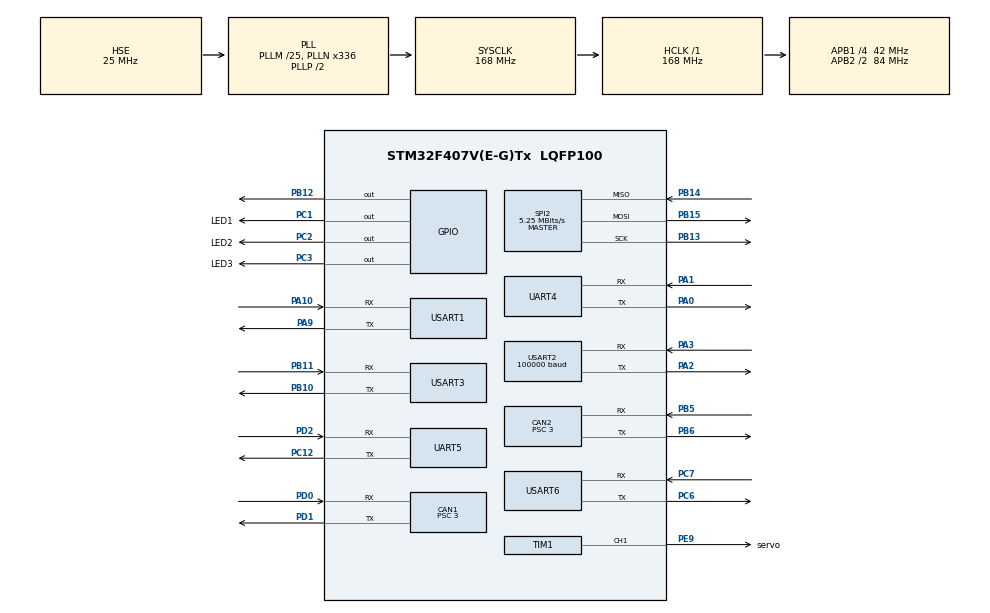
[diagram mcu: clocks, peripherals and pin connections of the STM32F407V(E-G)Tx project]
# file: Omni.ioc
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CAN1.ABOM=ENABLE
CAN1.BS1=CAN_BS1_9TQ
CAN1.BS2=CAN_BS2_4TQ
CAN1.CalculateBaudRate=1000000
CAN1.CalculateTimeBit=1000
CAN1.CalculateTimeQuantum=71.42857142857143
CAN1.Prescaler=3
CAN2.ABOM=ENABLE
CAN2.BS1=CAN_BS1_9TQ
CAN2.BS2=CAN_BS2_4TQ
CAN2.CalculateBaudRate=1000000
CAN2.CalculateTimeBit=1000
CAN2.CalculateTimeQuantum=71.42857142857143
CAN2.Prescaler=3
Dma.Request0=UART4_RX
Dma.Request1=UART4_TX
Dma.Request10=USART6_TX
Dma.Request2=USART1_RX
Dma.Request3=USART1_TX
Dma.Request4=UART5_RX
Dma.Request5=UART5_TX
Dma.Request6=USART2_RX
Dma.Request7=USART3_RX
Dma.Request8=USART3_TX
Dma.Request9=USART6_RX
Dma.UART4_RX.0.Direction=DMA_PERIPH_TO_MEMORY
Dma.UART4_RX.0.FIFOMode=DMA_FIFOMODE_DISABLE
Dma.UART4_RX.0.Instance=DMA1_Stream2
Dma.UART4_RX.0.MemDataAlignment=DMA_MDATAALIGN_BYTE
Dma.UART4_RX.0.MemInc=DMA_MINC_ENABLE
Dma.UART4_RX.0.Mode=DMA_CIRCULAR
Dma.UART4_RX.0.PeriphDataAlignment=DMA_PDATAALIGN_BYTE
Dma.UART4_RX.0.PeriphInc=DMA_PINC_DISABLE
Dma.UART4_RX.0.Priority=DMA_PRIORITY_HIGH
Dma.UART4_TX.1.Direction=DMA_MEMORY_TO_PERIPH
Dma.UART4_TX.1.FIFOMode=DMA_FIFOMODE_DISABLE
Dma.UART4_TX.1.Instance=DMA1_Stream4
Dma.UART4_TX.1.MemDataAlignment=DMA_MDATAALIGN_BYTE
Dma.UART4_TX.1.MemInc=DMA_MINC_ENABLE
Dma.UART4_TX.1.Mode=DMA_NORMAL
Dma.UART4_TX.1.PeriphDataAlignment=DMA_PDATAALIGN_BYTE
Dma.UART4_TX.1.PeriphInc=DMA_PINC_DISABLE
Dma.UART4_TX.1.Priority=DMA_PRIORITY_HIGH
Dma.UART5_RX.4.Direction=DMA_PERIPH_TO_MEMORY
Dma.UART5_RX.4.FIFOMode=DMA_FIFOMODE_DISABLE
Dma.UART5_RX.4.Instance=DMA1_Stream0
Dma.UART5_RX.4.MemDataAlignment=DMA_MDATAALIGN_BYTE
Dma.UART5_RX.4.MemInc=DMA_MINC_ENABLE
Dma.UART5_RX.4.Mode=DMA_CIRCULAR
Dma.UART5_RX.4.PeriphDataAlignment=DMA_PDATAALIGN_BYTE
Dma.UART5_RX.4.PeriphInc=DMA_PINC_DISABLE
Dma.UART5_RX.4.Priority=DMA_PRIORITY_HIGH
Dma.UART5_TX.5.Direction=DMA_MEMORY_TO_PERIPH
Dma.UART5_TX.5.FIFOMode=DMA_FIFOMODE_DISABLE
Dma.UART5_TX.5.Instance=DMA1_Stream7
Dma.UART5_TX.5.MemDataAlignment=DMA_MDATAALIGN_BYTE
Dma.UART5_TX.5.MemInc=DMA_MINC_ENABLE
Dma.UART5_TX.5.Mode=DMA_NORMAL
Dma.UART5_TX.5.PeriphDataAlignment=DMA_PDATAALIGN_BYTE
Dma.UART5_TX.5.PeriphInc=DMA_PINC_DISABLE
Dma.UART5_TX.5.Priority=DMA_PRIORITY_HIGH
Dma.USART1_RX.2.Direction=DMA_PERIPH_TO_MEMORY
Dma.USART1_RX.2.FIFOMode=DMA_FIFOMODE_DISABLE
Dma.USART1_RX.2.Instance=DMA2_Stream2
Dma.USART1_RX.2.MemDataAlignment=DMA_MDATAALIGN_BYTE
Dma.USART1_RX.2.MemInc=DMA_MINC_ENABLE
Dma.USART1_RX.2.Mode=DMA_CIRCULAR
Dma.USART1_RX.2.PeriphDataAlignment=DMA_PDATAALIGN_BYTE
Dma.USART1_RX.2.PeriphInc=DMA_PINC_DISABLE
Dma.USART1_RX.2.Priority=DMA_PRIORITY_HIGH
Dma.USART1_TX.3.Direction=DMA_MEMORY_TO_PERIPH
Dma.USART1_TX.3.FIFOMode=DMA_FIFOMODE_DISABLE
Dma.USART1_TX.3.Instance=DMA2_Stream7
Dma.USART1_TX.3.MemDataAlignment=DMA_MDATAALIGN_BYTE
Dma.USART1_TX.3.MemInc=DMA_MINC_ENABLE
Dma.USART1_TX.3.Mode=DMA_NORMAL
Dma.USART1_TX.3.PeriphDataAlignment=DMA_PDATAALIGN_BYTE
Dma.USART1_TX.3.PeriphInc=DMA_PINC_DISABLE
Dma.USART1_TX.3.Priority=DMA_PRIORITY_HIGH
Dma.USART2_RX.6.Direction=DMA_PERIPH_TO_MEMORY
Dma.USART2_RX.6.FIFOMode=DMA_FIFOMODE_DISABLE
Dma.USART2_RX.6.Instance=DMA1_Stream5
Dma.USART2_RX.6.MemDataAlignment=DMA_MDATAALIGN_BYTE
Dma.USART2_RX.6.MemInc=DMA_MINC_ENABLE
Dma.USART2_RX.6.Mode=DMA_CIRCULAR
Dma.USART2_RX.6.PeriphDataAlignment=DMA_PDATAALIGN_BYTE
Dma.USART2_RX.6.PeriphInc=DMA_PINC_DISABLE
Dma.USART2_RX.6.Priority=DMA_PRIORITY_HIGH
Dma.USART3_RX.7.Direction=DMA_PERIPH_TO_MEMORY
Dma.USART3_RX.7.FIFOMode=DMA_FIFOMODE_DISABLE
Dma.USART3_RX.7.Instance=DMA1_Stream1
Dma.USART3_RX.7.MemDataAlignment=DMA_MDATAALIGN_BYTE
Dma.USART3_RX.7.MemInc=DMA_MINC_ENABLE
Dma.USART3_RX.7.Mode=DMA_CIRCULAR
Dma.USART3_RX.7.PeriphDataAlignment=DMA_PDATAALIGN_BYTE
Dma.USART3_RX.7.PeriphInc=DMA_PINC_DISABLE
Dma.USART3_RX.7.Priority=DMA_PRIORITY_LOW
Dma.USART3_TX.8.Direction=DMA_MEMORY_TO_PERIPH
Dma.USART3_TX.8.FIFOMode=DMA_FIFOMODE_DISABLE
Dma.USART3_TX.8.Instance=DMA1_Stream3
Dma.USART3_TX.8.MemDataAlignment=DMA_MDATAALIGN_BYTE
Dma.USART3_TX.8.MemInc=DMA_MINC_ENABLE
Dma.USART3_TX.8.Mode=DMA_NORMAL
Dma.USART3_TX.8.PeriphDataAlignment=DMA_PDATAALIGN_BYTE
Dma.USART3_TX.8.PeriphInc=DMA_PINC_DISABLE
Dma.USART3_TX.8.Priority=DMA_PRIORITY_LOW
Dma.USART6_RX.9.Direction=DMA_PERIPH_TO_MEMORY
Dma.USART6_RX.9.FIFOMode=DMA_FIFOMODE_DISABLE
Dma.USART6_RX.9.Instance=DMA2_Stream1
Dma.USART6_RX.9.MemDataAlignment=DMA_MDATAALIGN_BYTE
Dma.USART6_RX.9.MemInc=DMA_MINC_ENABLE
Dma.USART6_RX.9.Mode=DMA_CIRCULAR
Dma.USART6_RX.9.PeriphDataAlignment=DMA_PDATAALIGN_BYTE
Dma.USART6_RX.9.PeriphInc=DMA_PINC_DISABLE
Dma.USART6_RX.9.Priority=DMA_PRIORITY_LOW
Dma.USART6_TX.10.Direction=DMA_MEMORY_TO_PERIPH
Dma.USART6_TX.10.FIFOMode=DMA_FIFOMODE_DISABLE
Dma.USART6_TX.10.Instance=DMA2_Stream6
Dma.USART6_TX.10.MemDataAlignment=DMA_MDATAALIGN_BYTE
Dma.USART6_TX.10.MemInc=DMA_MINC_ENABLE
Dma.USART6_TX.10.Mode=DMA_CIRCULAR
Dma.USART6_TX.10.PeriphDataAlignment=DMA_PDATAALIGN_BYTE
Dma.USART6_TX.10.PeriphInc=DMA_PINC_DISABLE
Dma.USART6_TX.10.Priority=DMA_PRIORITY_LOW
FREERTOS.Tasks01=MonitorTask,3,256,StartMonitorTask,As weak,NULL,Dynamic,NULL,NULL;CommunityTask,2,512,StartCommunityTask,As weak,NULL,Dynamic,NULL,NULL;ControlTask,0,256,StartControlTask,As weak,NULL,Dynamic,NULL,NULL;LedTask,1,128,StartLedTask,As weak,NULL,Dynamic,NULL,NULL
FREERTOS.configENABLE_FPU=1
IWDG.Prescaler=IWDG_PRESCALER_8
Mcu.Family=STM32F4
Mcu.Name=STM32F407V(E-G)Tx
Mcu.Package=LQFP100
NVIC.CAN1_RX0_IRQn=true\:5\:0\:false\:false\:true\:true\:true\:true\:true
NVIC.CAN2_RX0_IRQn=true\:5\:0\:false\:false\:true\:true\:true\:true\:true
NVIC.DMA1_Stream0_IRQn=true\:5\:0\:false\:false\:true\:true\:false\:true\:true
NVIC.DMA1_Stream1_IRQn=true\:5\:0\:false\:false\:true\:true\:false\:true\:true
NVIC.DMA1_Stream2_IRQn=true\:5\:0\:false\:false\:true\:true\:false\:true\:true
NVIC.DMA1_Stream3_IRQn=true\:5\:0\:false\:false\:true\:true\:false\:true\:true
NVIC.DMA1_Stream4_IRQn=true\:5\:0\:false\:false\:true\:true\:false\:true\:true
NVIC.DMA1_Stream5_IRQn=true\:5\:0\:false\:false\:true\:true\:false\:true\:true
NVIC.DMA1_Stream7_IRQn=true\:5\:0\:false\:false\:true\:true\:false\:true\:true
NVIC.DMA2_Stream1_IRQn=true\:5\:0\:false\:false\:true\:true\:false\:true\:true
NVIC.DMA2_Stream2_IRQn=true\:5\:0\:false\:false\:true\:true\:false\:true\:true
NVIC.DMA2_Stream6_IRQn=true\:5\:0\:false\:false\:true\:true\:false\:true\:true
NVIC.DMA2_Stream7_IRQn=true\:5\:0\:false\:false\:true\:true\:false\:true\:true
NVIC.PriorityGroup=NVIC_PRIORITYGROUP_4
NVIC.TIM2_IRQn=true\:15\:0\:false\:false\:true\:false\:false\:true\:true
NVIC.TIM4_IRQn=true\:5\:0\:false\:false\:true\:true\:true\:true\:true
NVIC.TimeBase=TIM2_IRQn
NVIC.TimeBaseIP=TIM2
NVIC.UART4_IRQn=true\:5\:0\:false\:false\:true\:true\:true\:true\:true
NVIC.UART5_IRQn=true\:5\:0\:false\:false\:true\:true\:true\:true\:true
NVIC.USART1_IRQn=true\:5\:0\:false\:false\:true\:true\:true\:true\:true
NVIC.USART2_IRQn=true\:5\:0\:false\:false\:true\:true\:true\:true\:true
NVIC.USART3_IRQn=true\:5\:0\:false\:false\:true\:true\:true\:true\:true
NVIC.USART6_IRQn=true\:5\:0\:false\:false\:true\:true\:true\:true\:true
PA0-WKUP.Mode=Asynchronous
PA0-WKUP.Signal=UART4_TX
PA1.Mode=Asynchronous
PA1.Signal=UART4_RX
PA10.Mode=Asynchronous
PA10.Signal=USART1_RX
PA13.Mode=Serial_Wire
PA13.Signal=SYS_JTMS-SWDIO
PA14.Mode=Serial_Wire
PA14.Signal=SYS_JTCK-SWCLK
PA2.Mode=Asynchronous
PA2.Signal=USART2_TX
PA3.Mode=Asynchronous
PA3.Signal=USART2_RX
PA9.Mode=Asynchronous
PA9.Signal=USART1_TX
PB10.Mode=Asynchronous
PB10.Signal=USART3_TX
PB11.Mode=Asynchronous
PB11.Signal=USART3_RX
PB12.GPIO_Speed=GPIO_SPEED_FREQ_HIGH
PB12.PinState=GPIO_PIN_RESET
PB12.Signal=GPIO_Output
PB13.Mode=Full_Duplex_Master
PB13.Signal=SPI2_SCK
PB14.Mode=Full_Duplex_Master
PB14.Signal=SPI2_MISO
PB15.Mode=Full_Duplex_Master
PB15.Signal=SPI2_MOSI
PB5.Mode=CAN_Activate
PB5.Signal=CAN2_RX
PB6.Mode=CAN_Activate
PB6.Signal=CAN2_TX
PC1.GPIO_Label=LED1
PC1.GPIO_Speed=GPIO_SPEED_FREQ_LOW
PC1.PinState=GPIO_PIN_SET
PC1.Signal=GPIO_Output
PC12.Mode=Asynchronous
PC12.Signal=UART5_TX
PC2.GPIO_Label=LED2
PC2.PinState=GPIO_PIN_SET
PC2.Signal=GPIO_Output
PC3.GPIO_Label=LED3
PC3.PinState=GPIO_PIN_SET
PC3.Signal=GPIO_Output
PC6.Mode=Asynchronous
PC6.Signal=USART6_TX
PC7.Mode=Asynchronous
PC7.Signal=USART6_RX
PD0.Mode=CAN_Activate
PD0.Signal=CAN1_RX
PD1.Mode=CAN_Activate
PD1.Signal=CAN1_TX
PD2.Mode=Asynchronous
PD2.Signal=UART5_RX
PE9.GPIO_Label=servo
PE9.GPIO_Speed=GPIO_SPEED_FREQ_HIGH
PE9.Signal=S_TIM1_CH1
PH0-OSC_IN.Mode=HSE-External-Oscillator
PH0-OSC_IN.Signal=RCC_OSC_IN
PH1-OSC_OUT.Mode=HSE-External-Oscillator
PH1-OSC_OUT.Signal=RCC_OSC_OUT
ProjectManager.HeapSize=0x200
ProjectManager.StackSize=0x400
ProjectManager.TargetToolchain=MDK-ARM V5.32
RCC.48MHZClocksFreq_Value=84000000
RCC.AHBFreq_Value=168000000
RCC.APB1CLKDivider=RCC_HCLK_DIV4
RCC.APB1Freq_Value=42000000
RCC.APB1TimFreq_Value=84000000
RCC.APB2CLKDivider=RCC_HCLK_DIV2
RCC.APB2Freq_Value=84000000
RCC.APB2TimFreq_Value=168000000
RCC.CortexFreq_Value=168000000
RCC.HCLKFreq_Value=168000000
RCC.HSE_VALUE=25000000
RCC.HSI_VALUE=16000000
RCC.LSE_VALUE=32768
RCC.PLLM=25
RCC.PLLN=336
RCC.PLLSourceVirtual=RCC_PLLSOURCE_HSE
RCC.SYSCLKFreq_VALUE=168000000
RCC.SYSCLKSource=RCC_SYSCLKSOURCE_PLLCLK
RCC.VCOOutputFreq_Value=336000000
SH.S_TIM1_CH1.0=TIM1_CH1,PWM Generation1 CH1
SPI2.BaudRatePrescaler=SPI_BAUDRATEPRESCALER_8
SPI2.CalculateBaudRate=5.25 MBits/s
SPI2.Direction=SPI_DIRECTION_2LINES
SPI2.Mode=SPI_MODE_MASTER
SPI2.VirtualType=VM_MASTER
TIM1.Channel-PWM\ Generation1\ CH1=TIM_CHANNEL_1
TIM1.Period=2000-1
TIM1.Prescaler=1680-1
TIM4.AutoReloadPreload=TIM_AUTORELOAD_PRELOAD_ENABLE
TIM4.Period=500-1
TIM4.Prescaler=84-1
UART4.VirtualMode=Asynchronous
UART5.VirtualMode=Asynchronous
USART1.VirtualMode=VM_ASYNC
USART2.BaudRate=100000
USART2.Mode=MODE_RX
USART2.Parity=PARITY_EVEN
USART2.VirtualMode=VM_ASYNC
USART3.VirtualMode=VM_ASYNC
USART6.VirtualMode=VM_ASYNC
VP_FREERTOS_VS_CMSIS_V1.Mode=CMSIS_V1
VP_IWDG_VS_IWDG.Mode=IWDG_Activate
VP_SYS_VS_tim2.Mode=TIM2
VP_TIM1_VS_ClockSourceINT.Mode=Internal
VP_TIM4_VS_ClockSourceINT.Mode=Internal
board=custom

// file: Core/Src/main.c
/* USER CODE BEGIN Header */
/**
  ******************************************************************************
  * @file           : main.c
  * @brief          : Main program body
  ******************************************************************************
  * @attention
  *
  * Copyright (c) 2023 STMicroelectronics.
  * All rights reserved.
  *
  * This software is licensed under terms that can be found in the LICENSE file
  * in the root directory of this software component.
  * If no LICENSE file comes with this software, it is provided AS-IS.
  *
  ******************************************************************************
  */
/* USER CODE END Header */
#include "main.h"
#include "cmsis_os.h"
#include "can.h"
#include "dma.h"
#include "spi.h"
#include "tim.h"
#include "usart.h"
#include "gpio.h"

/* USER CODE BEGIN Includes */
#include "iwdg.h"
#include "driver.h"
#include "device.h"
/* USER CODE END Includes */

/* USER CODE BEGIN PV */
extern osThreadId ImuTaskHandle;
/* USER CODE END PV */

void SystemClock_Config(void);
void MX_FREERTOS_Init(void);

int main(void)
{

  /* MCU Configuration--------------------------------------------------------*/

  /* Reset of all peripherals, Initializes the Flash interface and the Systick. */
  HAL_Init();

  /* Configure the system clock */
  SystemClock_Config();

  /* Initialize all configured peripherals */
  MX_GPIO_Init();
  MX_DMA_Init();
  MX_TIM1_Init();
  MX_TIM4_Init();
  MX_CAN1_Init();
  MX_CAN2_Init();
  MX_UART4_Init();
  MX_UART5_Init();
  MX_USART1_UART_Init();
  MX_USART2_UART_Init();
  MX_USART3_UART_Init();
  MX_SPI2_Init();
  MX_USART6_UART_Init();
  /* USER CODE BEGIN 2 */

	SPI2_Init();

	HAL_GPIO_WritePin(GPIOC, GPIO_PIN_1, GPIO_PIN_RESET);
	HAL_GPIO_WritePin(GPIOC, GPIO_PIN_2, GPIO_PIN_SET);
	HAL_GPIO_WritePin(GPIOC, GPIO_PIN_3, GPIO_PIN_RESET);

	imu_sensor.init(&imu_sensor);
	HAL_Delay(10);
/*
#if defined	(DEBUG_MODE) && (DEBUG_MODE == 0)
  MX_IWDG_Init();
#endif
*/
	DEVICE_Init();
	DRIVER_Init();

  /* USER CODE END 2 */

  /* Call init function for freertos objects (in freertos.c) */
  MX_FREERTOS_Init();

  /* Start scheduler */
  osKernelStart();

  /* We should never get here as control is now taken by the scheduler */
  /* Infinite loop */
  while (1)
  {

  }
}

void SystemClock_Config(void)
{
  RCC_OscInitTypeDef RCC_OscInitStruct = {0};
  RCC_ClkInitTypeDef RCC_ClkInitStruct = {0};

  /** Configure the main internal regulator output voltage
  */
  __HAL_RCC_PWR_CLK_ENABLE();
  __HAL_PWR_VOLTAGESCALING_CONFIG(PWR_REGULATOR_VOLTAGE_SCALE1);

  /** Initializes the RCC Oscillators according to the specified parameters
  * in the RCC_OscInitTypeDef structure.
  */
  RCC_OscInitStruct.OscillatorType = RCC_OSCILLATORTYPE_LSI|RCC_OSCILLATORTYPE_HSE;
  RCC_OscInitStruct.HSEState = RCC_HSE_ON;
  RCC_OscInitStruct.LSIState = RCC_LSI_ON;
  RCC_OscInitStruct.PLL.PLLState = RCC_PLL_ON;
  RCC_OscInitStruct.PLL.PLLSource = RCC_PLLSOURCE_HSE;
  RCC_OscInitStruct.PLL.PLLM = 25;
  RCC_OscInitStruct.PLL.PLLN = 336;
  RCC_OscInitStruct.PLL.PLLP = RCC_PLLP_DIV2;
  RCC_OscInitStruct.PLL.PLLQ = 4;
  if (HAL_RCC_OscConfig(&RCC_OscInitStruct) != HAL_OK)
  {
    Error_Handler();
  }

  /** Initializes the CPU, AHB and APB buses clocks
  */
  RCC_ClkInitStruct.ClockType = RCC_CLOCKTYPE_HCLK|RCC_CLOCKTYPE_SYSCLK
                              |RCC_CLOCKTYPE_PCLK1|RCC_CLOCKTYPE_PCLK2;
  RCC_ClkInitStruct.SYSCLKSource = RCC_SYSCLKSOURCE_PLLCLK;
  RCC_ClkInitStruct.AHBCLKDivider = RCC_SYSCLK_DIV1;
  RCC_ClkInitStruct.APB1CLKDivider = RCC_HCLK_DIV4;
  RCC_ClkInitStruct.APB2CLKDivider = RCC_HCLK_DIV2;

  if (HAL_RCC_ClockConfig(&RCC_ClkInitStruct, FLASH_LATENCY_5) != HAL_OK)
  {
    Error_Handler();
  }
}

void HAL_TIM_PeriodElapsedCallback(TIM_HandleTypeDef *htim)
{
  /* USER CODE BEGIN Callback 0 */
	static uint16_t i = 0;
	if (htim->Instance == TIM4)
	{
		//500us
		if (i++ == 60000)
		{
			i = 0;
		}

		if ((imu_sensor.work_state.err_code == IMU_NONE_ERR) || \
				(imu_sensor.work_state.err_code == IMU_DATA_CALI))
		{
			imu_sensor.update(&imu_sensor);
		}

	}

  /* USER CODE END Callback 0 */
  if (htim->Instance == TIM2) {
    HAL_IncTick();
  }
}

void Error_Handler(void)
{
  __disable_irq();
  while (1)
  {
  }
}

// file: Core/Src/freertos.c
/* USER CODE BEGIN Header */
/**
  ******************************************************************************
  * File Name          : freertos.c
  * Description        : Code for freertos applications
  ******************************************************************************
  * @attention
  *
  * Copyright (c) 2023 STMicroelectronics.
  * All rights reserved.
  *
  * This software is licensed under terms that can be found in the LICENSE file
  * in the root directory of this software component.
  * If no LICENSE file comes with this software, it is provided AS-IS.
  *
  ******************************************************************************
  */
/* USER CODE END Header */

#include "FreeRTOS.h"
#include "task.h"
#include "main.h"
#include "cmsis_os.h"

osThreadId MonitorTaskHandle;
osThreadId CommunityTaskHandle;
osThreadId ControlTaskHandle;
osThreadId LedTaskHandle;

void StartMonitorTask(void const * argument);
void StartCommunityTask(void const * argument);
void StartControlTask(void const * argument);
void StartLedTask(void const * argument);

void MX_FREERTOS_Init(void); /* (MISRA C 2004 rule 8.1) */

/* GetIdleTaskMemory prototype (linked to static allocation support) */
void vApplicationGetIdleTaskMemory( StaticTask_t **ppxIdleTaskTCBBuffer, StackType_t **ppxIdleTaskStackBuffer, uint32_t *pulIdleTaskStackSize );

/* USER CODE BEGIN GET_IDLE_TASK_MEMORY */
static StaticTask_t xIdleTaskTCBBuffer;
static StackType_t xIdleStack[configMINIMAL_STACK_SIZE];

void vApplicationGetIdleTaskMemory( StaticTask_t **ppxIdleTaskTCBBuffer, StackType_t **ppxIdleTaskStackBuffer, uint32_t *pulIdleTaskStackSize )
{
  *ppxIdleTaskTCBBuffer = &xIdleTaskTCBBuffer;
  *ppxIdleTaskStackBuffer = &xIdleStack[0];
  *pulIdleTaskStackSize = configMINIMAL_STACK_SIZE;
  /* place for user code */
}
/* USER CODE END GET_IDLE_TASK_MEMORY */

void MX_FREERTOS_Init(void) {

  /* Create the thread(s) */
  /* definition and creation of MonitorTask */
  osThreadDef(MonitorTask, StartMonitorTask, osPriorityRealtime, 0, 256);
  MonitorTaskHandle = osThreadCreate(osThread(MonitorTask), NULL);

  /* definition and creation of CommunityTask */
  osThreadDef(CommunityTask, StartCommunityTask, osPriorityHigh, 0, 512);
  CommunityTaskHandle = osThreadCreate(osThread(CommunityTask), NULL);

  /* definition and creation of ControlTask */
  osThreadDef(ControlTask, StartControlTask, osPriorityNormal, 0, 256);
  ControlTaskHandle = osThreadCreate(osThread(ControlTask), NULL);

  /* definition and creation of LedTask */
  osThreadDef(LedTask, StartLedTask, osPriorityAboveNormal, 0, 128);
  LedTaskHandle = osThreadCreate(osThread(LedTask), NULL);

}

__weak void StartMonitorTask(void const * argument)
{
  for(;;)
  {
    osDelay(1);
  }
}

__weak void StartCommunityTask(void const * argument)
{
  for(;;)
  {
    osDelay(1);
  }
}

__weak void StartControlTask(void const * argument)
{
  for(;;)
  {
    osDelay(1);
  }
}

__weak void StartLedTask(void const * argument)
{
  for(;;)
  {
    osDelay(1);
  }
}
